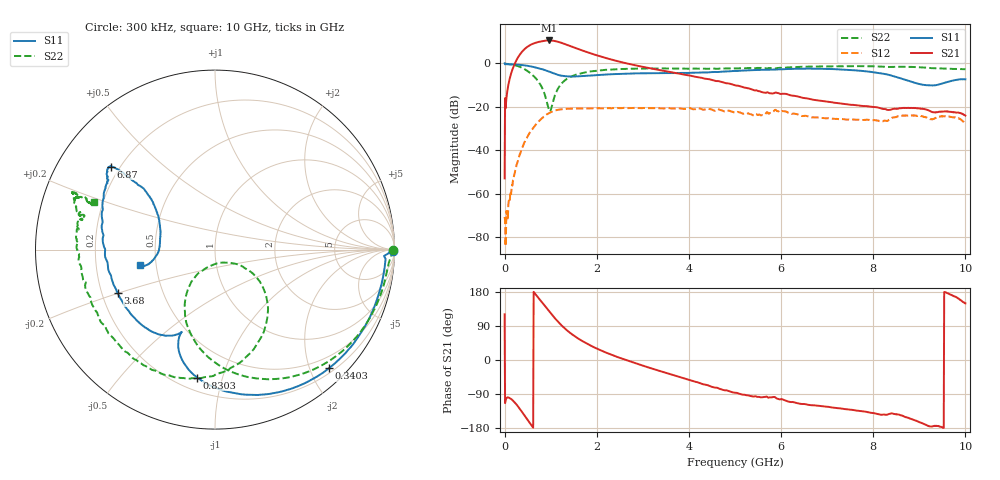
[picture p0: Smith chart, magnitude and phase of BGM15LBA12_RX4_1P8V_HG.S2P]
!Agilent Technologies,E5071C,MY46316587,B.13.01
!Date: Thu Dec 07 14:11:25 2017
!Data & Calibration Information:
!Freq	S11:SOLT2(ON)	S21:SOLT2(ON)	S12:SOLT2(ON)	S22:SOLT2(ON)
!PortZ  Port1:50+j0  Port2:50+j0
!Above PortZ is port z conversion or system Z0 setting when saving the data.
!When reading, reference impedance value at option line is always used.
# Hz S dB R 50
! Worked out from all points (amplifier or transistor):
!   1001 points, 300 kHz to 10 GHz, reference 50 ohm
!   highest |S21| = 10.5 dB at 970.3 MHz (marker M1)
!   |S21| within 3 dB of that: 488.7 MHz to 1.479 GHz (990.5 MHz wide, 101 % of centre)
!   unconditionally stable (mu >= 1): start of sweep to end of sweep
!   at 1.66 GHz: K = 1.45, MAG = 9.4 dB, |S12| = -20.8 dB
!   at 5 GHz: K = 5.52, MAG = -4.1 dB, |S12| = -22.7 dB
!   at 10 GHz: K = 74.78, MAG = -20.0 dB, |S12| = -27.7 dB
!   lowest NFmin = 1.05 dB at 750 MHz
!   S11 on the Smith chart (normalised r, x): 300 kHz: open; 340.3 MHz: 0.28, -2.32; 830.3 MHz: 0.28, -0.83; 3.68 GHz: 0.27, -0.20; 6.87 GHz: 0.16, +0.34; 10 GHz: 0.41, -0.09
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300000  -0.08 -0.3  -52.95 120.4  -70.70 39.4  -0.07 -0.0
6.02982e7  -0.45 -8.7  -12.62 -98.9  -67.66 122.0  -0.35 -11.4
2.00294e8  -0.56 -27.7  -1.24 -109.6  -52.23 159.6  -0.79 -36.5
3.402898e8  -0.76 -46.1  4.24 -130.5  -41.52 158.4  -1.75 -60.8
4.602862e8  -1.07 -61.1  7.00 -151.4  -35.22 145.8  -3.08 -80.2
6.00282e8  -1.60 -76.8  8.82 -175.3  -30.32 131.1  -5.31 -100.3
7.102787e8  -2.13 -87.7  9.66 167.6  -27.44 118.3  -7.81 -114.2
8.302751e8  -2.86 -97.9  10.17 149.5  -24.99 105.0  -12.05 -125.0
9.702709e8  -3.94 -107.1  10.46 128.4  -22.83 88.2  -21.88 -90.2
1.120266e9  -5.12 -111.6  10.05 106.3  -21.61 71.0  -13.36 -31.6
1.32026e9  -5.99 -112.2  8.71 81.8  -21.03 53.1  -7.70 -45.1
1.480256e9  -6.11 -112.0  7.45 66.3  -20.88 42.5  -5.83 -56.7
1.67025e9  -5.95 -112.7  5.98 51.1  -20.77 32.9  -4.57 -68.1
2.35023e9  -5.04 -121.8  1.49 12.3  -20.68 10.0  -2.85 -96.4
3.3402e9  -4.57 -145.2  -3.05 -27.9  -20.69 -15.5  -2.44 -125.1
3.68019e9  -4.52 -155.8  -4.39 -40.8  -20.82 -23.6  -2.46 -135.7
5.00015e9  -3.56 161.4  -10.14 -86.6  -22.70 -53.8  -2.41 -177.0
6.6701e9  -2.53 141.9  -16.73 -119.3  -24.89 -81.0  -1.54 159.7
6.870094e9  -2.58 141.5  -17.33 -121.8  -25.10 -82.5  -1.46 159.0
8.34005e9  -5.36 139.5  -21.50 -142.5  -26.04 -87.8  -1.72 158.5
9.190024e9  -10.13 168.9  -21.61 -173.7  -25.21 -129.8  -2.08 158.0
1e10  -7.41 -168.0  -24.08 149.4  -27.67 -174.6  -2.79 158.4
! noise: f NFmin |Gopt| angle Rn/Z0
6.5e+08  1.163  0.462  60.2  0.3303
7e+08  1.086  0.4942  65.82  0.2726
7.5e+08  1.05  0.5098  67.48  0.2374
8e+08  1.066  0.5348  71.05  0.2334
8.5e+08  1.072  0.5112  76.64  0.2207
9e+08  1.106  0.4986  80.81  0.2273
9.5e+08  1.122  0.5425  84.18  0.25
1e+09  1.156  0.443  84.42  0.2127
